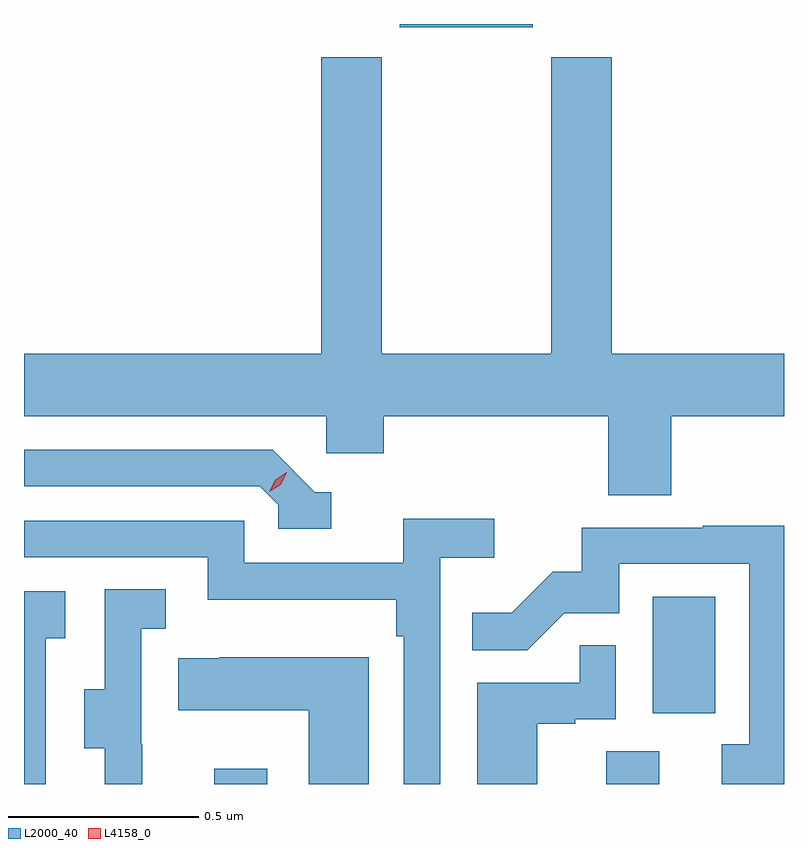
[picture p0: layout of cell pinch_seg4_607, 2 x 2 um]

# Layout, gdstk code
import gdstk
lib = gdstk.Library(unit=1e-6, precision=1e-09)
def R(c, l, rs):  # rectangles x0, y0, x1, y1
    for r in rs: c.add(gdstk.rectangle(r[:2], r[2:], *l))
def P(c, l, *ps):  # polygons
    for p in ps: c.add(gdstk.Polygon(p, *l))
L2000_40 = (2000, 40)
L4158_0 = (4158, 0)

pinch_seg4_607 = lib.new_cell('pinch_seg4_607')
R(pinch_seg4_607, L2000_40, [(1049.987,777.204,1050.127,777.244), (1051.019,777.204,1051.159,777.29), (1051.142,777.39,1051.306,777.697), (1050.476,779.195,1050.826,779.204)])
P(pinch_seg4_607, L2000_40, [(1051.19,778.172),(1051.487,778.172),(1051.487,778.336),(1051.034,778.336),(1051.034,779.116),(1050.874,779.116),(1050.874,778.336),(1050.429,778.336),(1050.429,779.116),(1050.269,779.116),(1050.269,778.336),(1049.487,778.336),(1049.487,778.172),(1050.282,778.172),(1050.282,778.074),(1050.434,778.074),(1050.434,778.172),(1051.025,778.172),(1051.025,777.964),(1051.19,777.964)],
  [(1050.295,777.972),(1050.252,777.972),(1050.141,778.083),(1049.487,778.083),(1049.487,777.987),(1050.108,777.987),(1050.156,777.939),(1050.156,777.876),(1050.295,777.876)],
  [(1050.582,777.8),(1050.724,777.8),(1050.724,777.902),(1050.485,777.902),(1050.485,777.786),(1050.066,777.786),(1050.066,777.897),(1049.487,777.897),(1049.487,777.801),(1049.97,777.801),(1049.97,777.689),(1050.466,777.689),(1050.466,777.593),(1050.486,777.593),(1050.486,777.204),(1050.582,777.204)],
  [(1051.487,777.884),(1051.273,777.884),(1051.273,777.879),(1050.955,777.879),(1050.955,777.762),(1050.878,777.762),(1050.771,777.655),(1050.667,777.655),(1050.667,777.556),(1050.811,777.556),(1050.909,777.654),(1051.053,777.654),(1051.053,777.783),(1051.395,777.783),(1051.395,777.309),(1051.323,777.309),(1051.323,777.204),(1051.487,777.204)],
  [(1049.798,777.309),(1049.796,777.309),(1049.796,777.613),(1049.86,777.613),(1049.86,777.716),(1049.7,777.716),(1049.7,777.453),(1049.645,777.453),(1049.645,777.298),(1049.699,777.298),(1049.699,777.204),(1049.798,777.204)],
  [(1049.544,777.587),(1049.596,777.587),(1049.596,777.711),(1049.487,777.711),(1049.487,777.204),(1049.544,777.204)],
  [(1050.838,777.363),(1050.938,777.363),(1050.938,777.375),(1051.044,777.375),(1051.044,777.569),(1050.949,777.569),(1050.949,777.471),(1050.68,777.471),(1050.68,777.204),(1050.838,777.204)],
  [(1050.394,777.538),(1050.001,777.538),(1050.001,777.535),(1049.893,777.535),(1049.893,777.398),(1050.236,777.398),(1050.236,777.204),(1050.394,777.204)])
P(pinch_seg4_607, L4158_0, [(1050.133,777.973),(1050.133,777.973),(1050.148,778.005),(1050.178,778.025),(1050.178,778.025),(1050.178,778.025),(1050.163,777.992),(1050.133,777.973)])

lib.write_gds('pinch_seg4_607.gds')
